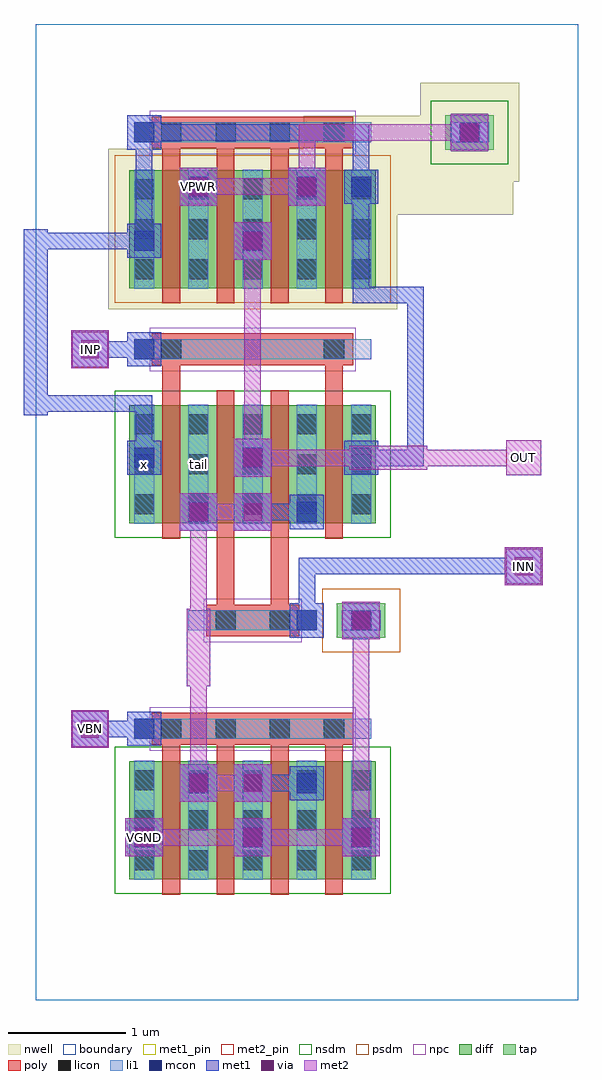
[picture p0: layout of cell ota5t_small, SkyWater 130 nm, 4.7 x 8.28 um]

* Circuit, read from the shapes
.subckt ota5t_small INN INP OUT VBN VGND VPWR tail x
XM1 tail VBN VGND VGND sky130_fd_pr__nfet_01v8 w=1 l=0.15 m=4
XM2 tail INP x VGND sky130_fd_pr__nfet_01v8 w=1 l=0.15 m=2
XM3 OUT INN tail VGND sky130_fd_pr__nfet_01v8 w=1 l=0.15 m=2
XM4 VPWR x x VPWR sky130_fd_pr__pfet_01v8 w=1 l=0.15 m=2
XM5 OUT x VPWR VPWR sky130_fd_pr__pfet_01v8 w=1 l=0.15 m=2
.ends

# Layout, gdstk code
import gdstk
lib = gdstk.Library(unit=1e-6, precision=1e-09)
def R(c, l, rs):  # rectangles x0, y0, x1, y1
    for r in rs: c.add(gdstk.rectangle(r[:2], r[2:], *l))
def A(c, l, x, y, w, h, nx, ny, dx, dy):  # array of equal rectangles
    R(c, l, [(x+i*dx, y+j*dy, x+i*dx+w, y+j*dy+h) for i in range(nx) for j in range(ny)])
nwell = (64, 20)
diff = (65, 20)
tap = (65, 44)
poly = (66, 20)
licon = (66, 44)
li1 = (67, 20)
mcon = (67, 44)
met1_pin = (68, 16)
met1 = (68, 20)
via = (68, 44)
met2_pin = (69, 16)
met2 = (69, 20)
nsdm = (93, 44)
psdm = (94, 20)
npc = (95, 20)
boundary = (235, 4)

ota5t_small = lib.new_cell('ota5t_small')
R(ota5t_small, nwell, [(0.615,5.86,3.065,6.66), (0.615,6.66,4.052,6.94), (0.615,6.94,4.1,7.22), (2.273,7.22,4.1,7.5), (3.26,7.5,4.1,7.78)])
R(ota5t_small, diff, [(0.795,1.025,2.885,2.025), (0.795,4.045,2.885,5.045), (0.795,6.04,2.885,7.04)])
R(ota5t_small, tap, [(2.555,3.075,2.965,3.365), (3.475,7.215,3.885,7.505)])
A(ota5t_small, poly, 1.075, 0.895, 0.15, 1.405, 4, 1, 0.46, 0)
A(ota5t_small, poly, 1.075, 5.91, 0.15, 1.45, 4, 1, 0.46, 0)
R(ota5t_small, poly, [(0.985,2.165,2.695,2.435), (1.445,3.085,2.235,3.355), (1.535,3.22,1.685,5.175), (1.995,3.22,2.145,5.175), (1.075,3.915,1.225,5.52), (2.455,3.915,2.605,5.52), (0.985,5.385,2.695,5.655), (0.985,7.225,2.695,7.495)])
A(ota5t_small, licon, 0.835, 1.1, 0.17, 0.17, 5, 3, 0.46, 0.34)
A(ota5t_small, licon, 1.065, 2.215, 0.17, 0.17, 4, 2, 0.46, 5.06)
A(ota5t_small, licon, 0.835, 4.12, 0.17, 0.17, 5, 3, 0.46, 0.34)
A(ota5t_small, licon, 0.835, 6.115, 0.17, 0.17, 5, 3, 0.46, 0.34)
R(ota5t_small, licon, [(1.525,3.135,1.695,3.305), (1.985,3.135,2.155,3.305), (2.675,3.135,2.845,3.305), (1.065,5.435,1.235,5.605), (2.445,5.435,2.615,5.605), (3.595,7.275,3.765,7.445)])
A(ota5t_small, li1, 0.835, 1.02, 0.17, 1.01, 5, 2, 0.46, 3.02)
A(ota5t_small, li1, 0.835, 6.035, 0.17, 1.01, 5, 1, 0.46, 0)
R(ota5t_small, li1, [(0.835,2.215,2.845,2.385), (1.295,3.135,2.385,3.305), (2.595,3.135,2.925,3.305), (0.835,5.435,2.845,5.605), (0.835,7.275,2.845,7.445), (3.515,7.275,3.845,7.445)])
A(ota5t_small, mcon, 0.835, 1.295, 0.17, 0.17, 3, 2, 0.92, 3.22)
A(ota5t_small, mcon, 0.835, 5.435, 0.17, 0.17, 1, 3, 0, 0.92)
R(ota5t_small, mcon, [(1.295,1.755,1.465,1.925), (2.215,1.755,2.385,1.925), (0.835,2.215,1.005,2.385), (2.215,3.135,2.385,3.305), (2.675,3.135,2.845,3.305), (1.295,4.055,1.465,4.225), (2.215,4.055,2.385,4.225), (1.755,6.355,1.925,6.525), (1.295,6.815,1.465,6.985), (2.215,6.815,2.385,6.985), (2.675,6.815,2.845,6.985), (3.595,7.275,3.765,7.445)])
R(ota5t_small, met1_pin, [(0.775,1.235,1.065,1.525), (1.235,6.755,1.525,7.045)])
A(ota5t_small, met1, 0.76, 1.22, 0.32, 0.32, 3, 1, 0.92, 0)
A(ota5t_small, met1, 0.775, 1.235, 0.29, 0.29, 3, 2, 0.92, 3.22)
A(ota5t_small, met1, 0.775, 5.375, 0.29, 0.29, 1, 3, 0, 0.92)
R(ota5t_small, met1, [(1.22,1.68,1.54,2), (1.68,1.68,2,2), (1.235,1.695,1.525,1.985), (2.155,1.695,2.445,1.985), (1.77,1.77,2.37,1.91), (0.3,2.14,0.62,2.46), (0.775,2.155,1.065,2.445), (0.39,2.23,0.99,2.37), (2.6,3.06,2.92,3.38), (2.155,3.075,2.445,3.365), (2.615,3.075,2.905,3.365), (2.23,3.15,2.37,3.75), (2.69,3.15,2.83,3.29), (3.98,3.52,4.3,3.84), (2.23,3.61,4.21,3.75), (1.22,3.98,1.54,4.3), (1.68,3.98,2,4.3), (1.235,3.995,1.525,4.285), (2.155,3.995,2.445,4.285), (1.77,4.07,2.37,4.21), (1.68,4.44,2,4.76), (0.85,4.53,0.99,5.13), (2.69,4.53,3.29,4.67), (3.15,4.53,3.29,6.05), (-0.1,4.96,0.1,6.54), (-0.07,4.99,0.99,5.13), (0.3,5.36,0.62,5.68), (0.39,5.45,0.99,5.59), (2.69,5.91,3.29,6.05), (2.69,5.91,2.83,6.97), (1.68,6.28,2,6.6), (1.695,6.295,1.985,6.585), (-0.07,6.37,0.99,6.51), (0.85,6.37,0.99,7.43), (1.22,6.74,1.54,7.06), (2.14,6.74,2.46,7.06), (1.235,6.755,1.525,7.045), (2.155,6.755,2.445,7.045), (2.615,6.755,2.905,7.045), (2.69,6.83,2.83,7.43), (3.52,7.2,3.84,7.52), (3.535,7.215,3.825,7.505), (0.85,7.29,2.83,7.43), (3.61,7.29,3.75,7.43)])
A(ota5t_small, via, 0.845, 1.305, 0.15, 0.15, 3, 1, 0.92, 0)
R(ota5t_small, via, [(1.305,1.765,1.455,1.915), (1.765,1.765,1.915,1.915), (0.385,2.225,0.535,2.375), (2.685,3.145,2.835,3.295), (4.065,3.605,4.215,3.755), (1.305,4.065,1.455,4.215), (1.765,4.065,1.915,4.215), (1.765,4.525,1.915,4.675), (0.385,5.445,0.535,5.595), (1.765,6.365,1.915,6.515), (1.305,6.825,1.455,6.975), (2.225,6.825,2.375,6.975), (3.605,7.285,3.755,7.435)])
R(ota5t_small, met2_pin, [(0.31,2.15,0.61,2.45), (3.99,3.53,4.29,3.83), (3.99,4.45,4.29,4.75), (0.31,5.37,0.61,5.67)])
A(ota5t_small, met2, 0.76, 1.22, 0.32, 0.32, 3, 1, 0.92, 0)
R(ota5t_small, met2, [(0.85,1.31,1.91,1.45), (1.77,1.31,2.83,1.45), (2.69,1.31,2.83,3.29), (1.22,1.68,1.54,2), (1.68,1.68,2,2), (1.31,1.77,1.91,1.91), (1.31,1.77,1.45,2.83), (0.3,2.14,0.62,2.46), (0.31,2.15,0.61,2.45), (0.39,2.23,0.53,2.37), (1.28,2.66,1.48,3.32), (2.6,3.06,2.92,3.38), (1.31,3.15,1.45,4.21), (3.98,3.52,4.3,3.84), (3.99,3.53,4.29,3.83), (4.07,3.61,4.21,3.75), (1.22,3.98,1.54,4.3), (1.68,3.98,2,4.3), (1.31,4.07,1.91,4.21), (1.68,4.44,2,4.76), (3.99,4.45,4.29,4.75), (2.66,4.5,3.32,4.7), (1.77,4.53,1.91,6.51), (1.77,4.53,2.83,4.67), (3.15,4.53,4.21,4.67), (4.07,4.53,4.21,4.67), (0.3,5.36,0.62,5.68), (0.31,5.37,0.61,5.67), (0.39,5.45,0.53,5.59), (1.68,6.28,2,6.6), (1.22,6.74,1.54,7.06), (2.14,6.74,2.46,7.06), (1.31,6.83,2.37,6.97), (2.23,6.83,2.37,7.43), (3.52,7.2,3.84,7.52), (2.23,7.29,3.75,7.43)])
R(ota5t_small, nsdm, [(0.67,0.9,3.01,2.15), (0.67,3.92,3.01,5.17), (3.35,7.09,4.01,7.63)])
R(ota5t_small, psdm, [(2.43,2.95,3.09,3.49), (0.67,5.915,3.01,7.165)])
R(ota5t_small, npc, [(0.965,2.115,2.715,2.485), (1.425,3.035,2.255,3.405), (0.965,5.335,2.715,5.705), (0.965,7.175,2.715,7.545)])
R(ota5t_small, boundary, [(0,0,4.6,8.28)])
ota5t_small.add(gdstk.Label('x', (0.92,4.545), layer=67, texttype=5))
ota5t_small.add(gdstk.Label('tail', (1.38,4.545), layer=67, texttype=5))
ota5t_small.add(gdstk.Label('VPWR', (1.38,6.9), layer=68, texttype=5))
ota5t_small.add(gdstk.Label('VGND', (0.92,1.38), layer=68, texttype=5))
ota5t_small.add(gdstk.Label('INP', (0.46,5.52), layer=69, texttype=5))
ota5t_small.add(gdstk.Label('INN', (4.14,3.68), layer=69, texttype=5))
ota5t_small.add(gdstk.Label('VBN', (0.46,2.3), layer=69, texttype=5))
ota5t_small.add(gdstk.Label('OUT', (4.14,4.6), layer=69, texttype=5))
ota5t_small.add(gdstk.Label('VPWR', (1.38,6.9), layer=68, texttype=16))
ota5t_small.add(gdstk.Label('VGND', (0.92,1.38), layer=68, texttype=16))
ota5t_small.add(gdstk.Label('INP', (0.46,5.52), layer=69, texttype=16))
ota5t_small.add(gdstk.Label('INN', (4.14,3.68), layer=69, texttype=16))
ota5t_small.add(gdstk.Label('VBN', (0.46,2.3), layer=69, texttype=16))
ota5t_small.add(gdstk.Label('OUT', (4.14,4.6), layer=69, texttype=16))

lib.write_gds('ota5t_small.gds')
